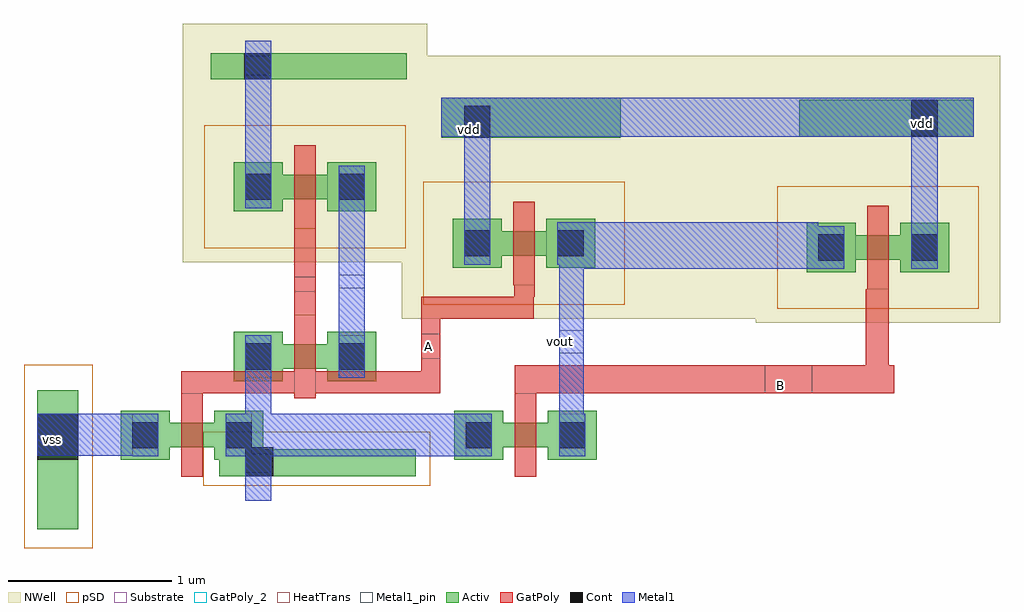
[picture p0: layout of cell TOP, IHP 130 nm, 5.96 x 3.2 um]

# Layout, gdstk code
from math import pi, radians
import gdstk
lib = gdstk.Library(unit=1e-6, precision=5e-09)
def R(c, l, rs):  # rectangles x0, y0, x1, y1
    for r in rs: c.add(gdstk.rectangle(r[:2], r[2:], *l))
Activ = (1, 0)
GatPoly = (5, 0)
GatPoly_2 = (5, 2)
Cont = (6, 0)
Metal1 = (8, 0)
Metal1_pin = (8, 2)
pSD = (14, 0)
NWell = (31, 0)
Substrate = (40, 0)
HeatTrans = (51, 0)

pmos = lib.new_cell('pmos')
R(pmos, Activ, [(0,0,0.3,0.3), (0.57,0,0.87,0.3), (0,0.075,0.87,0.225)])
R(pmos, GatPoly, [(0.37,-0.105,0.5,0.405), (0.37,-0.105,0.5,0.405)])
R(pmos, Cont, [(0.07,0.07,0.23,0.23), (0.64,0.07,0.8,0.23)])
R(pmos, Metal1, [(0.07,0.02,0.23,0.28), (0.07,0.02,0.23,0.28), (0.64,0.02,0.8,0.28), (0.64,0.02,0.8,0.28)])
R(pmos, pSD, [(-0.18,-0.225,1.05,0.525)])
R(pmos, NWell, [(-0.31,-0.31,1.18,0.61)])
R(pmos, Substrate, [(0.57,0,0.87,0.3)])
R(pmos, HeatTrans, [(0.37,-0.105,0.5,0.405)])
pmos.add(gdstk.Label('pmos', (0.435,0.15), layer=63, texttype=0))
pmos.add(gdstk.Label('pmos', (0.435,0.15), layer=51, texttype=0))

nmos = lib.new_cell('nmos')
R(nmos, Activ, [(0,0,0.3,0.3), (0.57,0,0.87,0.3), (0,0.075,0.87,0.225)])
R(nmos, GatPoly, [(0.37,-0.105,0.5,0.405)])
R(nmos, GatPoly_2, [(0.37,-0.105,0.5,0.405)])
R(nmos, Cont, [(0.07,0.07,0.23,0.23), (0.64,0.07,0.8,0.23)])
R(nmos, Metal1, [(0.07,0.02,0.23,0.28), (0.64,0.02,0.8,0.28)])
R(nmos, Metal1_pin, [(0.07,0.02,0.23,0.28), (0.64,0.02,0.8,0.28)])
R(nmos, HeatTrans, [(0.37,-0.105,0.5,0.405)])
nmos.add(gdstk.Label('nmos', (0.435,0.15), layer=63, texttype=0))
nmos.add(gdstk.Label('nmos', (0.435,0.15), layer=51, texttype=0))

inv_bel = lib.new_cell('inv_bel')
R(inv_bel, Activ, [(0.22,0.15,1.42,0.315), (0.17,2.57,1.365,2.73)])
R(inv_bel, GatPoly, [(0.68,1.135,0.81,1.66)])
R(inv_bel, GatPoly_2, [(0.68,1.275,0.81,1.365)])
R(inv_bel, Cont, [(0.38,0.15,0.55,0.325), (0.375,2.57,0.54,2.73)])
R(inv_bel, Metal1, [(0.38,0,0.54,0.75), (0.95,1.01,1.11,1.785), (0.38,2.045,0.54,2.805)])
R(inv_bel, Metal1_pin, [(0.38,0.17,0.54,0.285), (0.95,1.295,1.11,1.38), (0.38,2.595,0.54,2.715)])
R(inv_bel, pSD, [(0.125,0.09,1.51,0.42)])
R(inv_bel, NWell, [(0,2.375,1.49,2.91)])
inv_bel.add(gdstk.Reference(pmos, (0.31,1.765)))
inv_bel.add(gdstk.Reference(nmos, (0.31,0.73)))
inv_bel.add(gdstk.Label('Vout', (1,1.315), layer=8, texttype=2))
inv_bel.add(gdstk.Label('vss', (0.435,0.205), layer=8, texttype=2))
inv_bel.add(gdstk.Label('vcc', (0.435,2.64), layer=8, texttype=2))
inv_bel.add(gdstk.Label('VIN', (0.71,1.3), layer=5, texttype=2))

nmos_1 = lib.new_cell('nmos$1')
R(nmos_1, Activ, [(0,0,0.3,0.3), (0.57,0,0.87,0.3), (0,0.075,0.87,0.225)])
R(nmos_1, GatPoly, [(0.37,-0.105,0.5,0.405)])
R(nmos_1, GatPoly_2, [(0.37,-0.105,0.5,0.405)])
R(nmos_1, Cont, [(0.07,0.07,0.23,0.23), (0.64,0.07,0.8,0.23)])
R(nmos_1, Metal1, [(0.07,0.02,0.23,0.28), (0.64,0.02,0.8,0.28)])
R(nmos_1, Metal1_pin, [(0.07,0.02,0.23,0.28), (0.64,0.02,0.8,0.28)])
R(nmos_1, HeatTrans, [(0.37,-0.105,0.5,0.405)])
nmos_1.add(gdstk.Label('nmos', (0.435,0.15), layer=63, texttype=0))
nmos_1.add(gdstk.Label('nmos', (0.435,0.15), layer=51, texttype=0))

pmos_1 = lib.new_cell('pmos$1')
R(pmos_1, Activ, [(0,0,0.3,0.3), (0.57,0,0.87,0.3), (0,0.075,0.87,0.225)])
R(pmos_1, GatPoly, [(0.37,-0.105,0.5,0.405), (0.37,-0.105,0.5,0.405)])
R(pmos_1, Cont, [(0.07,0.07,0.23,0.23), (0.64,0.07,0.8,0.23)])
R(pmos_1, Metal1, [(0.07,0.02,0.23,0.28), (0.07,0.02,0.23,0.28), (0.64,0.02,0.8,0.28), (0.64,0.02,0.8,0.28)])
R(pmos_1, pSD, [(-0.18,-0.225,1.05,0.525)])
R(pmos_1, NWell, [(-0.31,-0.31,1.18,0.61)])
R(pmos_1, Substrate, [(0.57,0,0.87,0.3)])
R(pmos_1, HeatTrans, [(0.37,-0.105,0.5,0.405)])
pmos_1.add(gdstk.Label('pmos', (0.435,0.15), layer=63, texttype=0))
pmos_1.add(gdstk.Label('pmos', (0.435,0.15), layer=51, texttype=0))

top = lib.new_cell('TOP')
R(top, Activ, [(0.795,-0.77,1.045,0.08), (3.26,1.62,4.355,1.865), (5.445,1.625,6.51,1.85)])
R(top, GatPoly, [(1.675,0.06,3.255,0.195), (3.71,0.06,6.025,0.23), (3.14,0.195,3.255,0.65), (5.85,0.23,5.99,0.695), (3.255,0.515,3.825,0.65), (3.705,0.65,3.83,0.72)])
R(top, GatPoly_2, [(5.235,0.06,5.525,0.23), (3.14,0.27,3.255,0.425)])
R(top, Cont, [(0.795,-0.345,1.045,-0.065), (3.4,1.62,3.56,1.815), (6.13,1.625,6.29,1.85)])
R(top, Metal1, [(2.105,-0.325,3.41,-0.065), (0.795,-0.32,1.375,-0.065), (3.98,-0.065,4.13,0.845), (4.13,0.82,5.56,1.105), (3.4,1.055,3.56,1.815), (6.13,1.08,6.29,1.85), (3.26,1.625,6.51,1.865)])
R(top, Metal1_pin, [(0.795,-0.32,1.04,-0.065), (3.98,0.305,4.13,0.445), (3.4,1.62,3.56,1.815), (6.13,1.63,6.29,1.85)])
R(top, pSD, [(0.715,-0.885,1.135,0.235)])
R(top, NWell, [(3.02,0.515,6.67,2.12), (5.18,1.41,6.67,2.12), (3.02,1.435,4.51,2.01)])
top.add(gdstk.Reference(inv_bel, (1.685,-0.595)))
top.add(gdstk.Reference(nmos_1, (3.34,-0.345)))
top.add(gdstk.Reference(nmos_1, (1.305,-0.345)))
top.add(gdstk.Reference(pmos_1, (3.33,0.825)))
top.add(gdstk.Reference(pmos_1, (6.36,1.1), rotation=pi))
top.add(gdstk.Label('vout', (3.99,0.375), layer=8, texttype=2))
top.add(gdstk.Label('vss', (0.89,-0.22), layer=8, texttype=2))
top.add(gdstk.Label('vdd', (3.435,1.67), layer=8, texttype=2))
top.add(gdstk.Label('vdd', (6.2,1.705), layer=8, texttype=2))
top.add(gdstk.Label('A', (3.18,0.345), layer=5, texttype=2))
top.add(gdstk.Label('B', (5.33,0.105), layer=5, texttype=2))

lib.write_gds('TOP.gds')
